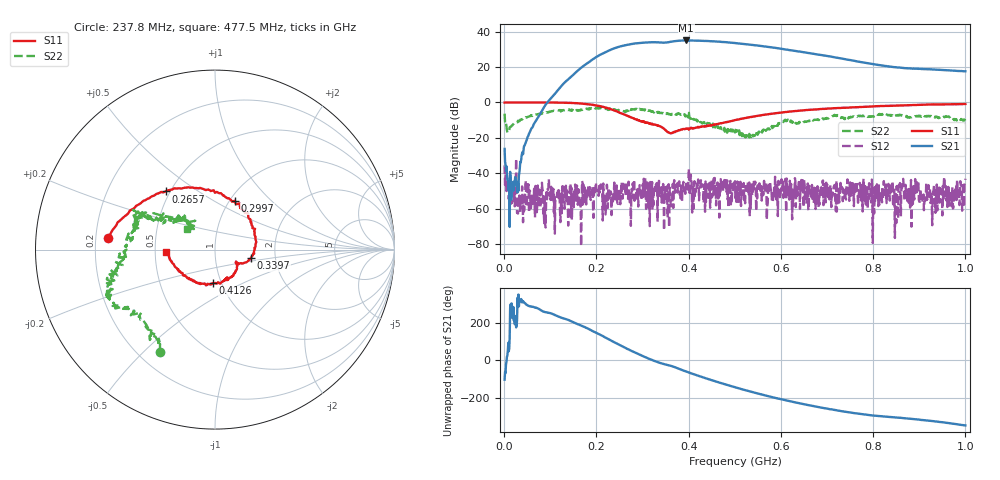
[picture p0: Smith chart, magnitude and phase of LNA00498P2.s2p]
! Created with skrf 1.9.0 (http://scikit-rf.org).
# Hz S RI R 50.0
!freq ReS11 ImS11 ReS21 ImS21 ReS12 ImS12 ReS22 ImS22
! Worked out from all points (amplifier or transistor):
!   1001 points, 1 MHz to 1 GHz, reference 50 ohm
!   highest |S21| = 35.1 dB at 394.6 MHz (marker M1)
!   |S21| within 3 dB of that: 257.2 MHz to 552.6 MHz (295.3 MHz wide, 72.9 % of centre)
!   unconditionally stable (mu >= 1): 199.2 MHz to 305.5 MHz; 306 MHz to 400.2 MHz; 400.8 MHz to end of sweep (the widest 3 of 26)
!   at 166.8 MHz: K = 45.93, MAG = 30.8 dB, |S12| = -81.3 dB
!   at 500.5 MHz: K = 1.67, MAG = 34.3 dB, |S12| = -44.5 dB
!   at 1 GHz: K = 1.37, MAG = 26.7 dB, |S12| = -43.1 dB
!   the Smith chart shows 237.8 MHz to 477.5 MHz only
!   S11 on the Smith chart (normalised r, x): 237.8 MHz: 0.25, +0.05; 265.7 MHz: 0.47, +0.37; 299.7 MHz: 1.06, +0.63; 339.7 MHz: 1.49, -0.14; 412.6 MHz: 0.91, -0.36; 477.5 MHz: 0.57, -0.01
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1000000  0.9931 0.0106  -0.011 -0.0475  -0.0142 0.00879  0.3553 0.326
1.09891e8  0.5235 -0.8434  -0.8381 -1.541  0.000113 0.00016  0.4428 -0.3844
1.67833e8  -0.2099 -0.9071  -9.783 -0.7087  3.97e-05 -0.000574  0.0451 -0.6277
2.08792e8  -0.6616 -0.4209  -15.97 15.93  0.000404 0.00457  -0.2183 -0.6517
2.37763e8  -0.5983 0.0632  -4.378 33.23  -0.00239 -0.00112  -0.3069 -0.5678
2.65735e8  -0.2748 0.3242  19.52 37.29  -0.00164 -0.00322  -0.469 -0.366
2.99701e8  0.1105 0.2722  44.8 19.56  -0.000881 0.00404  -0.6019 -0.2166
3.18682e8  0.2095 0.1291  50.35 3.405  -0.000988 0.0011  -0.5387 -0.1306
3.34666e8  0.2167 -0.0114  48.91 -10.09  0.00173 0.00159  -0.5363 -0.0432
3.39661e8  0.2004 -0.0457  47.55 -13.36  -0.000226 0.00246  -0.5045 -0.00189
3.69631e8  0.1251 -0.0796  43.55 -32.38  -0.00112 0.00433  -0.4512 0.1125
3.94606e8  0.0741 -0.1667  28.33 -48.96  0.00329 0.00381  -0.3754 0.1923
4.12588e8  -0.0116 -0.188  14.17 -54.22  0.00593 0.000114  -0.2907 0.1456
4.41559e8  -0.15 -0.1595  -8.792 -53.96  0.00176 0.0028  -0.1942 0.1645
4.77523e8  -0.2715 -0.0111  -30.4 -40.79  0.00118 0.00629  -0.1548 0.114
5.005e8  -0.2935 0.1209  -38.75 -28.45  0.00541 0.00244  -0.1155 0.0827
5.39461e8  -0.2281 0.3257  -41.42 -7.204  0.0039 -0.000881  -0.1211 -0.013
5.84416e8  -0.0513 0.4837  -33.78 11  -0.00138 -0.00281  -0.2051 -0.0367
6.67333e8  0.3284 0.533  -11.03 21.25  -0.00063 -0.00462  -0.3231 0.0294
7.45255e8  0.5935 0.3967  1.742 16.05  0.0049 0.00212  -0.3452 0.169
8.34166e8  0.7813 0.1724  5.435 8.887  -0.00397 -0.000122  -0.3389 0.2886
1e9  0.8322 -0.3562  7.433 1.708  -0.000851 0.00693  0.0132 0.3045
